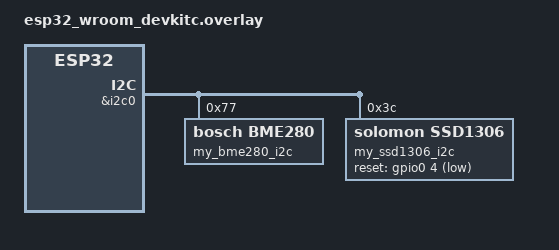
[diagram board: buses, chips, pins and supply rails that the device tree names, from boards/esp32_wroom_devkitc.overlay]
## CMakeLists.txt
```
cmake_minimum_required(VERSION 3.20.0)

find_package(Zephyr REQUIRED HINTS $ENV{ZEPHYR_BASE})
project(i2c_esp32_sd)

target_sources(app PRIVATE src/main.c)
```

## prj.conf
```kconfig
# Core
CONFIG_MAIN_STACK_SIZE=4096


# Enable the mutex and multithreading
CONFIG_MULTITHREADING=y


# Display
CONFIG_DISPLAY=y
CONFIG_DISPLAY_SSD1306=y
CONFIG_SSD1306_DEFAULT_CONTRAST=128
# Output
CONFIG_PRINTK=y
CONFIG_LOG=y

# I2C
CONFIG_I2C=y
```

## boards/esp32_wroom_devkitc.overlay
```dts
//Create an alias for the temp sensor and the display
/{
    aliases{
        my-temp = &my_bme280_i2c;   // alsias for the temp sensor
        my-disp = &my_ssd1306_i2c; // alias for the display
    };


&pinctrl
{
    //Custom pin settings for the I2C bus in esp32_devkitc_wroom --> allows you to set any gpio pin as i2c if not used for critical function
    i2c0_custom_pins:i2c0_custom_pins {
        group1 {
            pinmux = <I2C0_SDA_GPIO15>, <I2C0_SCL_GPIO16>;	// SDA on GPIO15, SCL on GPIO16
            bias-pull-up; 									// Enable pull-up resistors for both pins
            drive-open-drain; 								// Required for I2C
            output-high; 									// Start with lines high (inactive state)
        };
    };
};

&i2c0 {
    pinctrl-0 = <&i2c0_custom_pins>; 						// Use the custom pin configuration
    status = "okay"; 										// Enable I2C0 interface

	// Label: name of our device node
    my_bme280_i2c: bme280@77 {                              // The name of the node needs to tbe the device anme and the register address
        compatible = "bosch,bme280";                        // The compatible of the device 
        reg = <0x77>; 				
    };
    my_ssd1306_i2c: ssd1306@3C {                               // The name of the node needs to tbe the device anme and the register address
        compatible = "solomon,ssd1306";                        // The compatible of the device 
        reg = <0x3C>;                                          // The register start address of the i2c for the device  
        multiplex-ratio = 63;                                  // The multiplex ratio for 128x64 display --> tells how many rows are in the display
        segment-offset = 0;                                    // The start of the fist column
        page-offset = 0;                                       // The start of the first page
        display-offset = 0;                                    // The start of top line
        prechargep = 15;                                       // The default value-> for the lights of the display to light up correctly
        reset-gpios = <&gpio0 4 GPIO_ACTIVE_LOW>;              // To rest the display-> custom reset button in gpio4
    };
};


};
```

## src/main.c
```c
#include <stdio.h>
#include <zephyr/kernel.h> // Contains the threading fucntions and mutex functions--> also timing macros
#include <zephyr/device.h> // Device onfigurations
#include <zephyr/drivers/sensor.h> // BME280 implements this API
#include <zephyr/drivers/display.h> // SSD1306 implements this API


// Define the sleep time used in the threads
static const int32_t sensor_sleep_ms = 500;
static const int32_t display_sleep_ms = 1000;

// Sleep time for the sensor capture
static const int32_t sleep_time_ms = 1000;

static uint8_t oled_buf[128];  // 1 page = 8px height

static int temp_int;   // shared temperature (integer °C)

/* A hard‑coded 8×8 pixel font for numbers
 Each digit (0–9) is drawn as an 8‑byte, 8‑pixel‑tall pattern.
Every byte represents one row of pixels, and each bit in that byte is on/off for the OLED*/

static const uint8_t digit_font[10][8] = {
    {0x3C,0x66,0x6E,0x76,0x66,0x66,0x3C,0x00}, // 0
    {0x18,0x38,0x18,0x18,0x18,0x18,0x3C,0x00}, // 1
    {0x3C,0x66,0x06,0x0C,0x18,0x30,0x7E,0x00}, // 2
    {0x3C,0x66,0x06,0x1C,0x06,0x66,0x3C,0x00}, // 3
    {0x0C,0x1C,0x3C,0x6C,0x7E,0x0C,0x0C,0x00}, // 4
    {0x7E,0x60,0x7C,0x06,0x06,0x66,0x3C,0x00}, // 5
    {0x1C,0x30,0x60,0x7C,0x66,0x66,0x3C,0x00}, // 6
    {0x7E,0x66,0x06,0x0C,0x18,0x18,0x18,0x00}, // 7
    {0x3C,0x66,0x66,0x3C,0x66,0x66,0x3C,0x00}, // 8
    {0x3C,0x66,0x66,0x3E,0x06,0x0C,0x38,0x00}  // 9
};

// Define the stack size of each thread
#define SENSOR_THREAD_STACK_SIZE 512
#define DISPLAY_THREAD_STACK_SIZE 512

// Define stack areas for both the threads
K_THREAD_STACK_DEFINE(sensor_stack, SENSOR_THREAD_STACK_SIZE);
K_THREAD_STACK_DEFINE(display_stack, DISPLAY_THREAD_STACK_SIZE);

// Declare thread data structs
static struct k_thread sensor_thread;
static struct k_thread display_thread;

// Define mutex
K_MUTEX_DEFINE(temp_mutex);

//Get device configurations
static const struct device *const bme280 = DEVICE_DT_GET(DT_ALIAS(my_temp));
static const struct device *const ssd1306 = DEVICE_DT_GET(DT_ALIAS(my_disp));

// Sensor thread start function 
void sensor_thread_start(void *arg_1, void *arg_2, void *arg_3)
{
    int ret;
    struct sensor_value temp;
    while(1){

        // Use the sensor sample fetch rather than the bme280 dedicated function
        ret = sensor_sample_fetch(bme280);
        if(ret < 0){
            printk("Sample Fetch Error: %d\n", ret);
            continue;
        }

        ret = sensor_channel_get(bme280, SENSOR_CHAN_AMBIENT_TEMP, &temp);
        if(ret < 0){
            printk("Channel Get Error: %d\n", ret);
            continue;
        }
        // Lock the mutex variable which is the temp.val1 accessed by both the threads
        k_mutex_lock(&temp_mutex, K_FOREVER);
        temp_int = temp.val1;
        k_mutex_unlock(&temp_mutex);
        printk("Temperature: %d.%06d\n", temp.val1, temp.val2);
        k_msleep(sensor_sleep_ms);
    }
}

// Display thread start function
void display_thread_start(void *arg_1, void *arg_2, void *arg_3)
{
     while (1) {
        int local_temp;

        k_mutex_lock(&temp_mutex, K_FOREVER);
        local_temp = temp_int;
        k_mutex_unlock(&temp_mutex);

        memset(oled_buf, 0x00, sizeof(oled_buf)); // Clears the OLED display

        // Extract the digits from the temprature value
        int tens = (local_temp / 10) % 10; 
        int ones = local_temp % 10;

        // Copies the 8×8 bitmap for each digit into the display buffe
        memcpy(&oled_buf[0], digit_font[tens], 8);
        memcpy(&oled_buf[8], digit_font[ones], 8);

        // Describes the buffer to the SSD1306 driver
        struct display_buffer_descriptor desc = {
            .width = 128,
            .height = 8,
            .pitch = 128,
            .buf_size = sizeof(oled_buf),
        };

        display_write(ssd1306, 0, 0, &desc, oled_buf);

        k_msleep(display_sleep_ms);  // update every 0.5s
    }
}


int main(void)
{
    // Create thread ids
    k_tid_t sensor_tid;
    k_tid_t display_tid;

    if(!device_is_ready(bme280)){
        printk("Device %s is not ready.\n", bme280->name);
        return 0;
    }

    if(!device_is_ready(ssd1306)){
        printk("Device %s is not ready.\n", ssd1306->name);
        return 0;
    }
    // Start the sensor thread
    sensor_tid = k_thread_create(&sensor_thread,          // Thread struct
                                sensor_stack,            // Stack
                                K_THREAD_STACK_SIZEOF(sensor_stack),
                                sensor_thread_start,     // Entry point
                                NULL,                   // arg_1
                                NULL,                   // arg_2
                                NULL,                   // arg_3
                                7,                      // Priority
                                0,                      // Options
                                K_NO_WAIT);             // Delay

    // Start the display thread
    display_tid = k_thread_create(&display_thread,          // Thread struct
                                display_stack,            // Stack
                                K_THREAD_STACK_SIZEOF(display_stack),
                                display_thread_start,     // Entry point
                                NULL,                   // arg_1
                                NULL,                   // arg_2
                                NULL,                   // arg_3
                                8,                      // Priority
                                0,                      // Options
                                K_NO_WAIT);             // Delay


        
    while (1) {
        k_msleep(sleep_time_ms);
    }   
    return 0;
}
```
